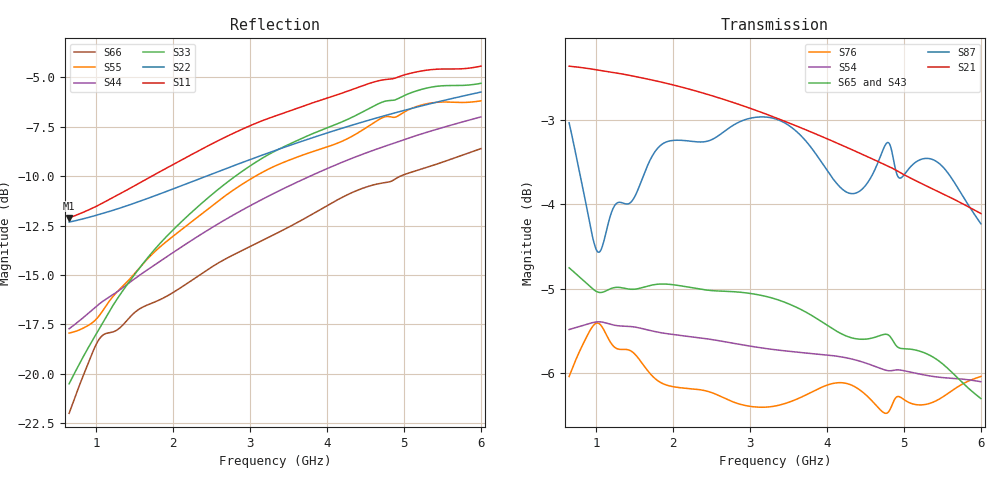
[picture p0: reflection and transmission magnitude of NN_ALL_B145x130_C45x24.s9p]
! IGNION VIRTUAL ANTENNA LIBRARY
! NN_ALL_B145x130_C45x24
! Virtual Antenna™ ALL mXTEND™: NN02-220 24.0 mm x 12.0 mm x 2.0 mm
! https://ignion.io/product/all-mxtend/
! Board: 145 mm x 130 mm
! Clearance Area: 45 mm x 24 mm
! Feeding line: straight line; 12mm x 2mm
! Applications: Smart meter, Routers/Repeaters
! Frequency range 0.65GHz to 6GHz, step 10MHz
! Number of ports 9
! This product and its use are protected by at least one or more of the following patents and
! patent applications PAT. US 9,130,259 B2; PAT. US 8,237,615 B2; and other domestic and
! international patents pending.  Additional information about patents related to this product
! is available at https://ignion.io/files/Patent-list-NN.pdf, all rights reserved. Copyright, Ignion 2021.
! Need more help? Your platform is much different than these examples in the manual? Use our
! Fast Track service (https://ignion.io/fast-track/), for free, and get a personalized antenna design in
! just 24 hours.
! Touchstone port 1 = "Series Port"
! Touchstone port 2 = "Shunt Port"
! Touchstone port 3 = "Series Port"
! Touchstone port 4 = "Shunt Port"
! Touchstone port 5 = "Series Port"
! Touchstone port 6 = "Shunt Port"
! Touchstone port 7 = "Series Port"
! Touchstone port 8 = "Shunt Port"
! Touchstone port 9 = "Series Port"
! IE3D S-Parameters Output Version 2.0
# GHZ S MA R 50
! Nport = 9
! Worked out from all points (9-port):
!   536 points, 650 MHz to 6 GHz, reference 50 ohm
!   strongest paths, dB at 650 MHz, 1.99 GHz, 3.33 GHz, 4.67 GHz, 6 GHz:
!     S21: -2.4, -2.6, -3.0, -3.5, -4.1
!     S87: -3.0, -3.2, -3.0, -3.5, -4.2
!     S65: -4.8, -5.0, -5.1, -5.6, -6.3
!     S43: -4.6, -4.9, -5.2, -5.6, -6.3
!     S54: -5.5, -5.5, -5.7, -5.9, -6.1
!     S76: -6.0, -6.2, -6.4, -6.4, -6.0
!   lowest |S11| = -12.1 dB at 650 MHz (marker M1), VSWR 1.66, Z = 31.2 + j7.28 ohm
!   |S11| at or under -10 dB: start of sweep to 1.724 GHz
